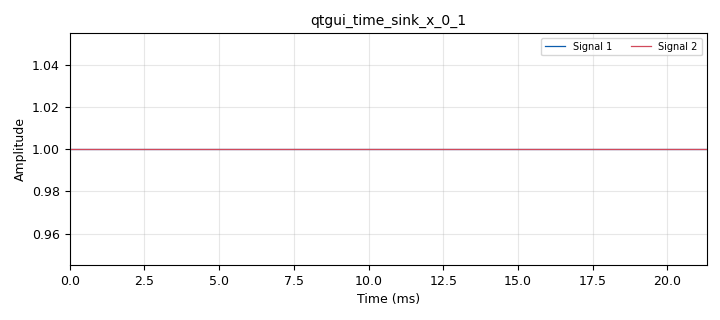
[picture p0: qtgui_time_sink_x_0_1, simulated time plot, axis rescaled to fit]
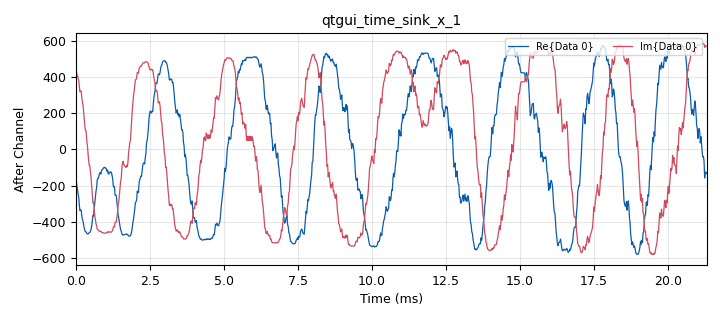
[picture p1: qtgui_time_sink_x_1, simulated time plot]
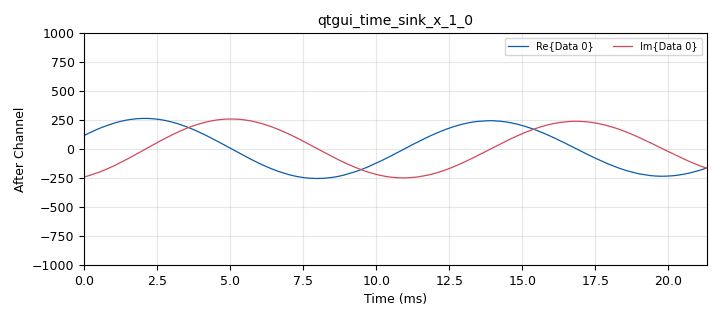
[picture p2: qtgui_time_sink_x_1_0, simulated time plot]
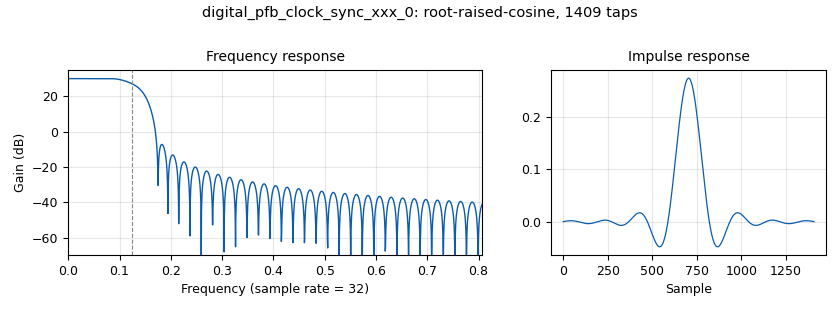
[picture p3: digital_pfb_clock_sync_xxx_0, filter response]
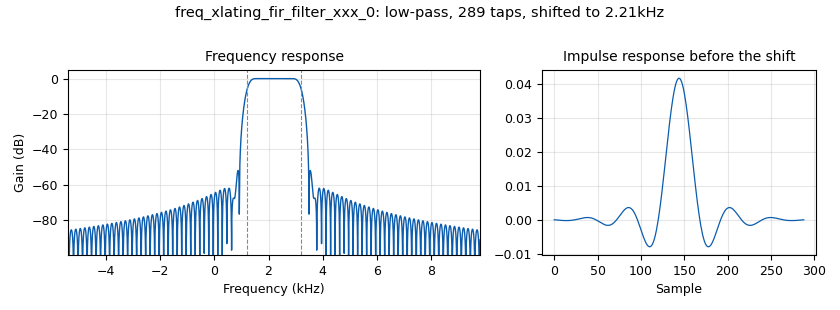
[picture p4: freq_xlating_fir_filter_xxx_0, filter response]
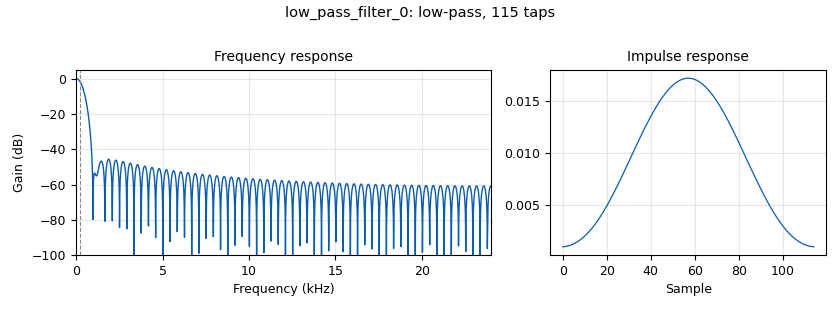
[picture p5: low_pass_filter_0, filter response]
options:
  parameters:
    author: Madeline Tippett
    generate_options: qt_gui
    id: multipath_fsk
    output_language: python
    title: Multipath Noise with FSK
  states: {}

blocks:
- name: baud
  id: variable
  parameters:
    value: '45.4545'
  states: {}
- name: centre
  id: variable
  parameters:
    value: '2210'
  states: {}
- name: delay
  id: variable_qtgui_range
  parameters:
    label: Delay
    start: '0'
    step: '1'
    stop: '250'
    value: '200'
  states: {}
- name: fsk_deviation
  id: variable
  parameters:
    value: '170'
  states: {}
- name: inp_amp
  id: variable
  parameters:
    value: '0.068'
  states: {}
- name: nfilts
  id: variable
  parameters:
    value: '32'
  states: {}
- name: points
  id: variable
  parameters:
    value: '4'
  states: {}
- name: repeat
  id: variable
  parameters:
    value: '1056'
  states: {}
- name: rrc_taps
  id: variable
  parameters:
    value: firdes.root_raised_cosine(nfilts, nfilts, 1.0/float(sps), 0.35,11*sps*nfilts)
  states: {}
- name: samp_rate
  id: variable
  parameters:
    value: '48000'
  states: {}
- name: samp_rate_0
  id: variable
  parameters:
    value: '48000'
  states: {}
- name: samp_rate_1
  id: variable
  parameters:
    value: '48000'
  states: {}
- name: samp_rate_2
  id: variable
  parameters:
    value: '48000'
  states: {}
- name: sps
  id: variable
  parameters:
    value: '4'
  states: {}
- name: sq_lvl
  id: variable_qtgui_range
  parameters:
    label: Squelch
    start: '-100'
    step: '5'
    stop: '0'
    value: '-70'
  states: {}
- name: vco_max
  id: variable
  parameters:
    value: '2500'
  states: {}
- name: vco_offset
  id: variable
  parameters:
    value: '0.850'
  states: {}
- name: analog_quadrature_demod_cf_0
  id: analog_quadrature_demod_cf
  parameters:
    gain: samp_rate/(2*math.pi*fsk_deviation)
  states: {}
- name: analog_random_source_x_0
  id: analog_random_source_x
  parameters:
    max: '256'
    min: '0'
    num_samps: '1024'
    repeat: 'True'
    type: byte
  states: {}
- name: analog_simple_squelch_cc_0
  id: analog_simple_squelch_cc
  parameters:
    alpha: '1'
    threshold: '-70'
  states: {}
- name: blocks_add_const_vxx_0
  id: blocks_add_const_vxx
  parameters:
    const: vco_offset
    type: float
  states: {}
- name: blocks_delay_0
  id: blocks_delay
  parameters:
    delay: delay
    type: float
  states: {}
- name: blocks_multiply_const_vxx_0
  id: blocks_multiply_const_vxx
  parameters:
    const: inp_amp
    type: float
  states: {}
- name: blocks_repeat_0
  id: blocks_repeat
  parameters:
    interp: '1056'
    type: byte
  states: {}
- name: blocks_throttle_0
  id: blocks_throttle
  parameters:
    samples_per_second: samp_rate
    type: byte
  states: {}
- name: blocks_uchar_to_float_0
  id: blocks_uchar_to_float
  parameters: {}
  states: {}
- name: blocks_uchar_to_float_1
  id: blocks_uchar_to_float
  parameters: {}
  states: {}
- name: blocks_unpack_k_bits_bb_0
  id: blocks_unpack_k_bits_bb
  parameters:
    k: '8'
  states: {}
- name: blocks_vco_f_0
  id: blocks_vco_f
  parameters:
    amplitude: '500'
    samp_rate: samp_rate
    sensitivity: '15708'
  states: {}
- name: channels_selective_fading_model_0
  id: channels_selective_fading_model
  parameters:
    K: '0.8'
    LOS: 'True'
    N: '8'
    delays: (0.0,0.1,1.6)
    fDTs: 1.67/samp_rate
    mags: (1,0.99,0.98)
    ntaps: '8'
    seed: '0'
  states: {}
- name: digital_binary_slicer_fb_0
  id: digital_binary_slicer_fb
  parameters: {}
  states: {}
- name: digital_pfb_clock_sync_xxx_0
  id: digital_pfb_clock_sync_xxx
  parameters:
    filter_size: '32'
    init_phase: '16'
    loop_bw: '.001'
    max_dev: '1.5'
    osps: '1'
    sps: '4'
    taps: rrc_taps
    type: ccf
  states: {}
- name: freq_xlating_fir_filter_xxx_0
  id: freq_xlating_fir_filter_xxx
  parameters:
    center_freq: centre
    decim: '1'
    samp_rate: samp_rate
    taps: firdes.low_pass(1.0, samp_rate, 1000, 400)
    type: fcf
  states: {}
- name: import_0
  id: import
  parameters:
    imports: import math
  states: {}
- name: low_pass_filter_0
  id: low_pass_filter
  parameters:
    cutoff_freq: '200'
    decim: '1'
    gain: '1'
    samp_rate: samp_rate
    type: fir_filter_fff
    width: '1000'
    win: window.WIN_HAMMING
  states: {}
- name: qtgui_time_sink_x_0_1
  id: qtgui_time_sink_x
  parameters:
    nconnections: '2'
    size: '1024'
    srate: samp_rate
    type: float
    update_time: '0'
  states: {}
- name: qtgui_time_sink_x_1
  id: qtgui_time_sink_x
  parameters:
    autoscale: 'True'
    size: '1024'
    srate: samp_rate
    type: complex
    ylabel: After Channel
  states: {}
- name: qtgui_time_sink_x_1_0
  id: qtgui_time_sink_x
  parameters:
    size: '1024'
    srate: samp_rate
    type: complex
    ylabel: After Channel
    ymax: '1000'
    ymin: '-1000'
  states: {}
- name: virtual_sink_0
  id: virtual_sink
  parameters:
    stream_id: xmt_data
  states: {}
- name: virtual_sink_1
  id: virtual_sink
  parameters:
    stream_id: fsk_out
  states: {}
- name: virtual_source_0
  id: virtual_source
  parameters:
    stream_id: xmt_data
  states: {}
- name: virtual_source_1
  id: virtual_source
  parameters:
    stream_id: fsk_out
  states: {}
- name: virtual_source_2
  id: virtual_source
  parameters:
    stream_id: xmt_data
  states: {}

connections:
- [analog_quadrature_demod_cf_0, '0', digital_binary_slicer_fb_0, '0']
- [analog_random_source_x_0, '0', blocks_unpack_k_bits_bb_0, '0']
- [analog_simple_squelch_cc_0, '0', analog_quadrature_demod_cf_0, '0']
- [blocks_add_const_vxx_0, '0', blocks_vco_f_0, '0']
- [blocks_delay_0, '0', qtgui_time_sink_x_0_1, '1']
- [blocks_multiply_const_vxx_0, '0', blocks_add_const_vxx_0, '0']
- [blocks_repeat_0, '0', blocks_throttle_0, '0']
- [blocks_throttle_0, '0', blocks_uchar_to_float_0, '0']
- [blocks_uchar_to_float_0, '0', virtual_sink_0, '0']
- [blocks_uchar_to_float_1, '0', qtgui_time_sink_x_0_1, '0']
- [blocks_unpack_k_bits_bb_0, '0', blocks_repeat_0, '0']
- [blocks_vco_f_0, '0', virtual_sink_1, '0']
- [channels_selective_fading_model_0, '0', analog_simple_squelch_cc_0, '0']
- [channels_selective_fading_model_0, '0', digital_pfb_clock_sync_xxx_0, '0']
- [channels_selective_fading_model_0, '0', qtgui_time_sink_x_1_0, '0']
- [digital_binary_slicer_fb_0, '0', blocks_uchar_to_float_1, '0']
- [digital_pfb_clock_sync_xxx_0, '0', qtgui_time_sink_x_1, '0']
- [freq_xlating_fir_filter_xxx_0, '0', channels_selective_fading_model_0, '0']
- [low_pass_filter_0, '0', blocks_multiply_const_vxx_0, '0']
- [virtual_source_0, '0', low_pass_filter_0, '0']
- [virtual_source_1, '0', freq_xlating_fir_filter_xxx_0, '0']
- [virtual_source_2, '0', blocks_delay_0, '0']

metadata:
  file_format: 1
